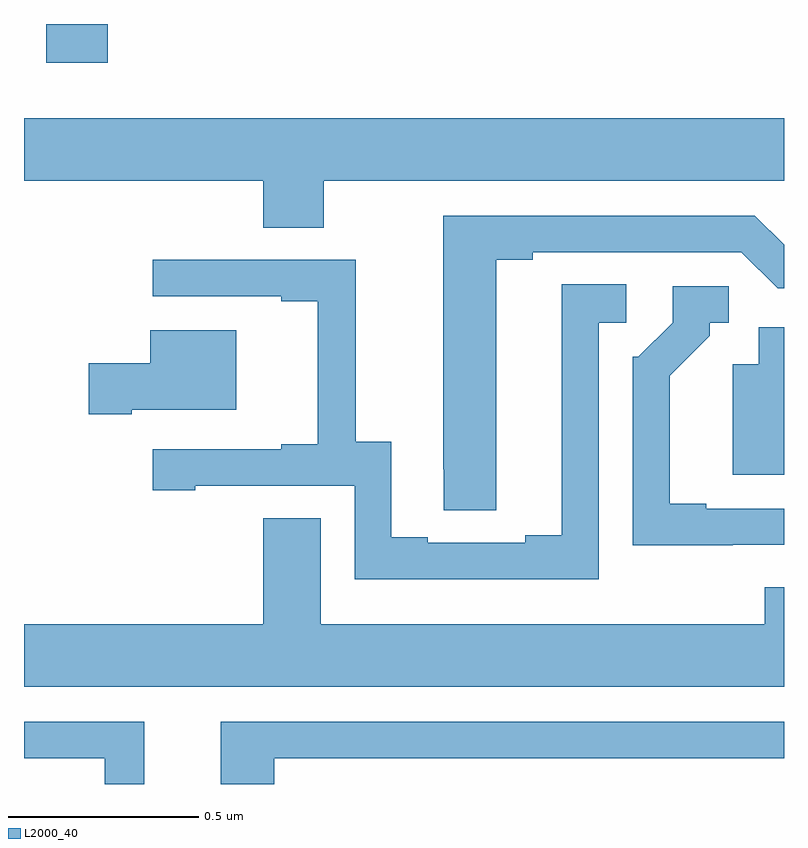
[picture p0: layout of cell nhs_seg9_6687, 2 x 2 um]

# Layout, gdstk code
import gdstk
lib = gdstk.Library(unit=1e-6, precision=1e-09)
def R(c, l, rs):  # rectangles x0, y0, x1, y1
    for r in rs: c.add(gdstk.rectangle(r[:2], r[2:], *l))
def P(c, l, *ps):  # polygons
    for p in ps: c.add(gdstk.Polygon(p, *l))
L2000_40 = (2000, 40)

nhs_seg9_6687 = lib.new_cell('nhs_seg9_6687')
R(nhs_seg9_6687, L2000_40, [(195.059,1195.398,195.22,1195.5)])
P(nhs_seg9_6687, L2000_40, [(195.789,1195.088),(197,1195.088),(197,1195.252),(195,1195.252),(195,1195.088),(195.629,1195.088),(195.629,1194.964),(195.789,1194.964)],
  [(196.243,1194.88),(196.339,1194.88),(196.339,1194.9),(196.887,1194.9),(196.983,1194.804),(197,1194.804),(197,1194.919),(196.923,1194.996),(196.103,1194.996),(196.103,1194.328),(196.104,1194.328),(196.104,1194.22),(196.243,1194.22)],
  [(196.512,1194.714),(196.585,1194.714),(196.585,1194.815),(196.415,1194.815),(196.415,1194.155),(196.319,1194.155),(196.319,1194.135),(196.063,1194.135),(196.063,1194.15),(195.967,1194.15),(195.967,1194.401),(195.873,1194.401),(195.873,1194.879),(195.339,1194.879),(195.339,1194.783),(195.677,1194.783),(195.677,1194.771),(195.773,1194.771),(195.773,1194.394),(195.677,1194.394),(195.677,1194.381),(195.339,1194.381),(195.339,1194.273),(195.451,1194.273),(195.451,1194.285),(195.87,1194.285),(195.87,1194.039),(196.512,1194.039)],
  [(196.865,1194.129),(197,1194.129),(197,1194.225),(196.795,1194.225),(196.795,1194.238),(196.699,1194.238),(196.699,1194.574),(196.804,1194.679),(196.804,1194.714),(196.854,1194.714),(196.854,1194.81),(196.707,1194.81),(196.707,1194.714),(196.617,1194.624),(196.602,1194.624),(196.602,1194.128),(196.865,1194.128)],
  [(197,1194.702),(196.934,1194.702),(196.934,1194.604),(196.865,1194.604),(196.865,1194.314),(197,1194.314)],
  [(195.283,1194.485),(195.559,1194.485),(195.559,1194.694),(195.332,1194.694),(195.332,1194.607),(195.171,1194.607),(195.171,1194.473),(195.283,1194.473)],
  [(197,1194.018),(196.949,1194.018),(196.949,1193.92),(195.781,1193.92),(195.781,1194.2),(195.629,1194.2),(195.629,1193.92),(195,1193.92),(195,1193.756),(197,1193.756)],
  [(195.316,1193.664),(195,1193.664),(195,1193.568),(195.212,1193.568),(195.212,1193.5),(195.316,1193.5)],
  [(195.658,1193.568),(197,1193.568),(197,1193.664),(195.518,1193.664),(195.518,1193.5),(195.658,1193.5)])

lib.write_gds('nhs_seg9_6687.gds')
